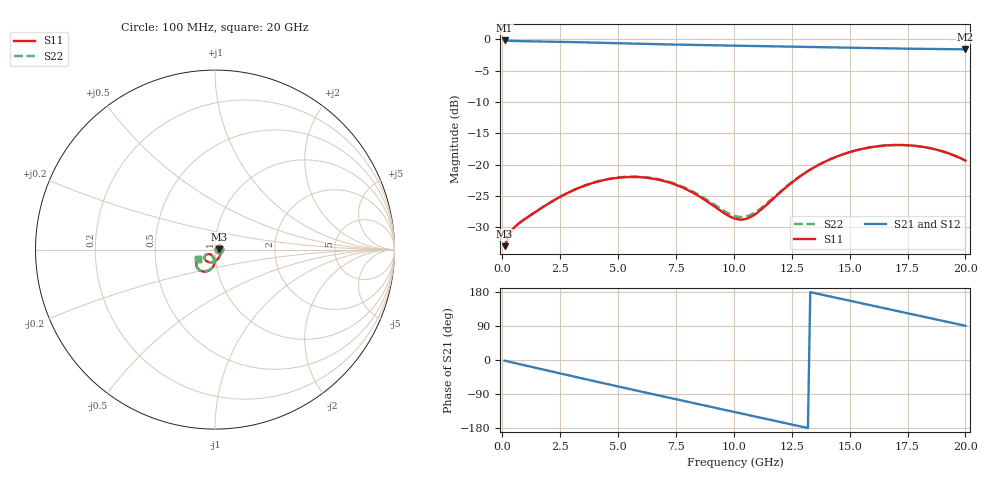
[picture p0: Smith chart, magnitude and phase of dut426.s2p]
! Touchstone file exported from HFSS 2026.1.0
!  File:  C:/ffzhzh/LocalFiles/Ansys_Project_Files/temp_train_TSV_RDL_426_1783096488_46604.aedt
!  Generated:  12:43:17 AM Jul  4, 2026
!  Design:  TSV_RDL
!  Project:  temp_train_TSV_RDL_426_1783096488_46604
! Variables:
!  h_bsmrdl = 5.22um
!  h_ox = 20um
!  h_rdl = 5um
!  h_sub = 52.55um
!  h_tmrdl = 4.48um
!  h_tsv = 52.55um
!  h_via = 3um
!  l_bsmrdl = 252.77um
!  l_sub = 4638.25um
!  l_tmrdl = 838.2um
!  m_sub = 200um
!  pitch = 26.06um
!  r_tsv = 2.45um
!  s_tmrdl = 10um
!  w_bsmrdl = 18.78um
!  w_sub = 500um
!  w_tmrdl = 23.6um
!  x_tsv_center1 = 850um
!  x_tsv_center2 = 1121.55um
!  x_tsv_center3 = 1983.35um
!  x_tsv_center4 = 2254.9um
!  x_tsv_center5 = 3116.7um
!  x_tsv_center6 = 3388.25um
# GHz S MA R 50.000000
! Terminal data exported
! Port[1] = TM_RDL1_1_T1
! Port[2] = TM_RDL5_1_T1
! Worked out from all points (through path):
!   200 points, 100 MHz to 20 GHz, reference 50 ohm
!   highest |S21| = -0.19 dB at 100 MHz (marker M1); lowest = -1.6 dB at 20 GHz (marker M2)
!   group delay of S21, straight-line fit = 37.3 ps
!   lowest |S11| = -33.0 dB at 100 MHz (marker M3), VSWR 1.05, Z = 52.3 + j0.181 ohm
!   |S11| at or under -10 dB: start of sweep to end of sweep
!   |S22| runs from -33.0 to -16.9 dB; largest |S21 - S12| = 1.6e-14
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0.1  0.02231 4.4  0.9778 -1.6  0.9778 -1.6  0.02231 4.4
! Gamma 0 0 0 0
! Port Impedance 50 0 50 0
0.4  0.02956 -4.1  0.9704 -6.1  0.9704 -6.1  0.02956 -4.1
0.8  0.03484 -23.5  0.9654 -11.7  0.9654 -11.7  0.03486 -23.6
2.1  0.05012 -66.2  0.9567 -29.9  0.9567 -29.9  0.05024 -66.1
3.5  0.06717 -95.0  0.9445 -49.3  0.9445 -49.3  0.06743 -94.8
4.4  0.07519 -109.7  0.9355 -61.7  0.9355 -61.7  0.07557 -109.4
5.2  0.07901 -121.2  0.9274 -72.6  0.9274 -72.6  0.0795 -120.8
6  0.07909 -131.5  0.9196 -83.4  0.9196 -83.4  0.07971 -131.0
6.8  0.07524 -140.3  0.9123 -94.2  0.9123 -94.2  0.07602 -139.7
7.6  0.0677 -147.1  0.9056 -104.9  0.9056 -104.9  0.06866 -146.4
8.4  0.05724 -150.5  0.8997 -115.5  0.8997 -115.5  0.05844 -149.7
10.1  0.03678 -130.4  0.8885 -138.2  0.8885 -138.2  0.03855 -130.8
10.5  0.03672 -118.8  0.886 -143.5  0.886 -143.5  0.03841 -119.9
10.9  0.03982 -107.8  0.8835 -148.9  0.8835 -148.9  0.0413 -109.5
12.2  0.06457 -92.4  0.8754 -166.3  0.8754 -166.3  0.06523 -94.1
13.4  0.09327 -95.7  0.8674 177.7  0.8674 177.7  0.09353 -97.0
14.2  0.1109 -101.3  0.8619 167.1  0.8619 167.1  0.111 -102.4
15  0.1256 -108.2  0.8563 156.4  0.8563 156.4  0.1256 -109.2
16.7  0.1426 -124.2  0.8453 134.0  0.8453 134.0  0.1425 -124.9
18.4  0.136 -139.5  0.8367 111.5  0.8367 111.5  0.1357 -140.1
19.2  0.1242 -145.4  0.8336 101.0  0.8336 101.0  0.1239 -146.1
20  0.1076 -149.4  0.831 90.3  0.831 90.3  0.1073 -150.1
